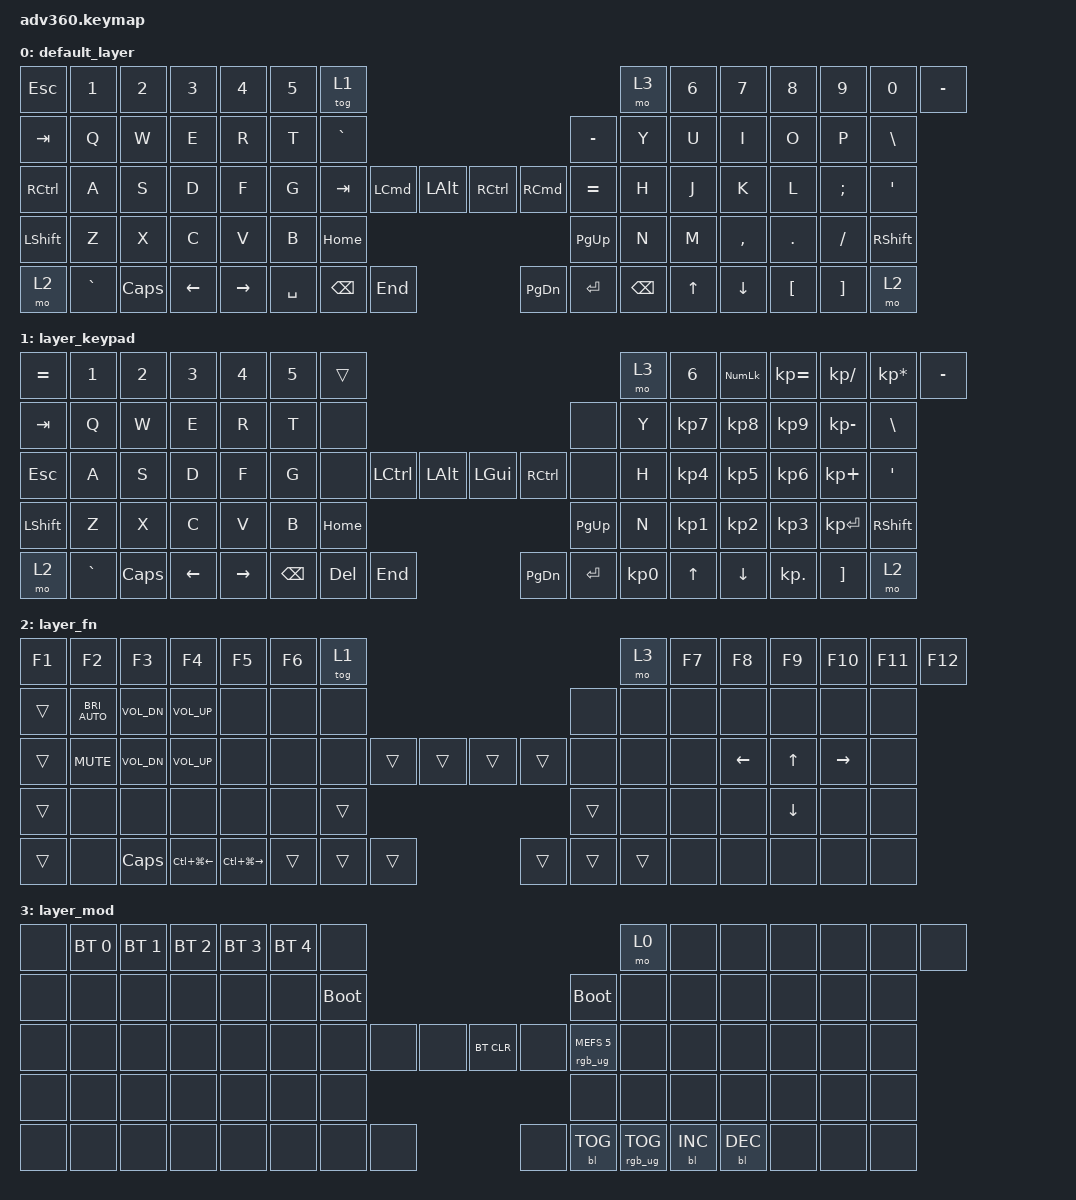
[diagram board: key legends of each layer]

/*
 * Copyright (c) 2020 The ZMK Contributors
 *
 * SPDX-License-Identifier: MIT
 */


/* THIS FILE WAS GENERATED!
 *
 * This file was generated automatically. You may or may not want to
 * edit it directly.
 */

#include <behaviors.dtsi>
#include <dt-bindings/zmk/keys.h>
#include <dt-bindings/zmk/bt.h>
#include <dt-bindings/zmk/rgb.h>
#include <dt-bindings/zmk/backlight.h>

/ {
    behaviors {
      #include "macros.dtsi"
      #include "version.dtsi"
      #ifndef VERSION_MACRO
      macro_ver: macro_ver {
        compatible = "zmk,behavior-macro";
        label = "macro_version";
        #binding-cells = <0>;
        bindings = <&kp RET>;
      };
      #endif

      hm: homerow_mods {
          compatible = "zmk,behavior-hold-tap";
          label = "HOMEROW_MODS";
          #binding-cells = <2>;
          tapping-term-ms = <200>;
          quick_tap_ms = <175>;
          flavor = "tap-preferred";
          bindings = <&kp>, <&kp>;
      };
    };

  keymap {
    compatible = "zmk,keymap";


        default_layer {
            bindings = <
   &kp ESC     &kp N1    &kp N2    &kp N3     &kp N4  &kp N5               &tog 1                                                                                    &mo 3  &kp N6  &kp N7     &kp N8    &kp N9    &kp N0  &kp MINUS
   &kp TAB      &kp Q     &kp W     &kp E      &kp R   &kp T            &kp GRAVE                                                                                &kp MINUS   &kp Y   &kp U      &kp I     &kp O     &kp P   &kp BSLH
 &kp RCTRL      &kp A     &kp S     &kp D      &kp F   &kp G              &kp TAB  &kp LEFT_COMMAND  &kp LALT                  &kp RCTRL  &kp RIGHT_COMMAND      &kp EQUAL   &kp H   &kp J      &kp K     &kp L  &kp SEMI    &kp SQT
 &kp LSHFT      &kp Z     &kp X     &kp C      &kp V   &kp B                                         &kp HOME                  &kp PG_UP                                     &kp N   &kp M  &kp COMMA   &kp DOT  &kp FSLH  &kp RSHFT
     &mo 2  &kp GRAVE  &kp CAPS  &kp LEFT  &kp RIGHT                    &kp SPACE     &kp BACKSPACE   &kp END                  &kp PG_DN          &kp ENTER  &kp BACKSPACE          &kp UP   &kp DOWN  &kp LBKT  &kp RBKT      &mo 2
            >;
        };

        layer_keypad {
            bindings = <
 &kp EQUAL     &kp N1    &kp N2    &kp N3     &kp N4  &kp N5              &trans                                                                 &mo 3  &kp N6  &kp KP_NUM  &kp KP_EQUAL  &kp KP_DIVIDE  &kp KP_MULTIPLY  &kp MINUS
   &kp TAB      &kp Q     &kp W     &kp E      &kp R   &kp T               &none                                                                 &none   &kp Y   &kp KP_N7     &kp KP_N8      &kp KP_N9     &kp KP_MINUS   &kp BSLH
   &kp ESC      &kp A     &kp S     &kp D      &kp F   &kp G               &none  &kp LCTRL  &kp LALT                   &kp LGUI  &kp RCTRL      &none   &kp H   &kp KP_N4     &kp KP_N5      &kp KP_N6      &kp KP_PLUS    &kp SQT
 &kp LSHFT      &kp Z     &kp X     &kp C      &kp V   &kp B                                 &kp HOME                  &kp PG_UP                         &kp N   &kp KP_N1     &kp KP_N2      &kp KP_N3     &kp KP_ENTER  &kp RSHFT
     &mo 2  &kp GRAVE  &kp CAPS  &kp LEFT  &kp RIGHT                    &kp BSPC    &kp DEL   &kp END                  &kp PG_DN  &kp ENTER  &kp KP_N0              &kp UP      &kp DOWN     &kp KP_DOT         &kp RBKT      &mo 2
            >;
        };

        layer_fn {
            bindings = <
 &kp F1          &kp F2        &kp F3            &kp F4             &kp F5  &kp F6            &tog 1                                                   &mo 3  &kp F7  &kp F8    &kp F9   &kp F10    &kp F11  &kp F12
 &trans  &kp C_BRI_AUTO  &kp C_VOL_DN      &kp C_VOL_UP              &none   &none             &none                                                   &none   &none   &none     &none     &none      &none    &none
 &trans      &kp C_MUTE  &kp C_VOL_DN      &kp C_VOL_UP              &none   &none             &none  &trans  &trans                  &trans  &trans   &none   &none   &none  &kp LEFT    &kp UP  &kp RIGHT    &none
 &trans           &none         &none             &none              &none   &none                            &trans                  &trans                   &none   &none     &none  &kp DOWN      &none    &none
 &trans           &none      &kp CAPS  &kp LC(LG(LEFT))  &kp LC(LG(RIGHT))                    &trans  &trans  &trans                  &trans  &trans  &trans           &none     &none     &none      &none    &none
            >;
        };

        layer_mod {
            bindings = <
  &none  &bt BT_SEL 0  &bt BT_SEL 1  &bt BT_SEL 2  &bt BT_SEL 3  &bt BT_SEL 4                  &none                                                                           &mo 0   &none       &none       &none   &none   &none   &none
  &none         &none         &none         &none         &none         &none            &bootloader                                                                     &bootloader   &none       &none       &none   &none   &none   &none
  &none         &none         &none         &none         &none         &none                  &none   &none   &none                  &bt BT_CLR       &none  &rgb_ug RGB_MEFS_CMD 5   &none       &none       &none   &none   &none   &none
  &none         &none         &none         &none         &none         &none                                  &none                       &none                                       &none       &none       &none   &none   &none   &none
  &none         &none         &none         &none         &none                                &none   &none   &none                       &none  &bl BL_TOG         &rgb_ug RGB_TOG          &bl BL_INC  &bl BL_DEC   &none   &none   &none
            >;
        };

    };
};
